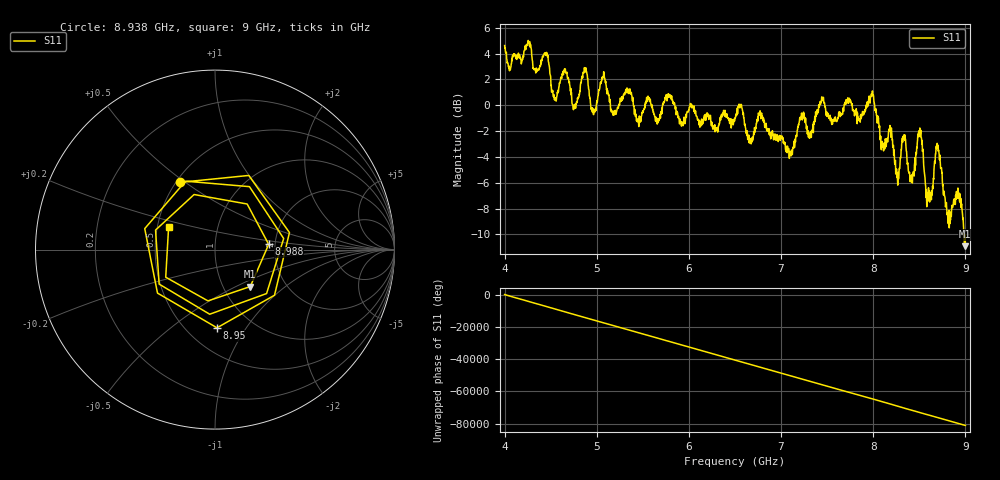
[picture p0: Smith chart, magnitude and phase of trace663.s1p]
! Created with skrf 1.8.0 (http://scikit-rf.org).
# Hz S RI R 50.0
!freq ReS11 ImS11
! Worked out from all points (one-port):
!   1601 points, 4 GHz to 9 GHz, reference 50 ohm
!   lowest |S11| = -10.9 dB at 8.991 GHz (marker M1), VSWR 1.80, Z = 66.8 - j29.9 ohm
!   |S11| at or under -10 dB: 8.983054 GHz to end of sweep
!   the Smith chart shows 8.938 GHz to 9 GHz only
!   S11 on the Smith chart (normalised r, x): 8.938 GHz: 0.52, +0.48; 8.95 GHz: 0.69, -0.75; 8.988 GHz: 1.85, +0.12; 9 GHz: 0.57, +0.16
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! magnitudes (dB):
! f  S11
! 4 GHz  4.6
! 4.447 GHz  3.9
! 4.544 GHz  0.6
! 4.625 GHz  2.4
! 4.756 GHz  -0.2
! 4.872 GHz  2.8
! 4.959 GHz  -0.3
! 5.066 GHz  2.2
! 5.25 GHz  0.3
! 5.875 GHz  -0.6
! 6.5 GHz  -1.0
! 7.125 GHz  -3.5
! 7.225 GHz  -0.7
! 7.75 GHz  0.2
! 7.991 GHz  1.1
! 8.256 GHz  -5.4
! 8.328 GHz  -2.4
! 8.375 GHz  -4.5
! 8.422 GHz  -6.0
! 8.506 GHz  -1.8
! 8.597 GHz  -6.7
! 8.7 GHz  -3.2
! 8.812 GHz  -9.2
! 8.938 GHz  -7.5
! 8.95 GHz  -7.2
! 8.988 GHz  -10.4
! 8.991 GHz  -10.9
! 9 GHz  -10.8
